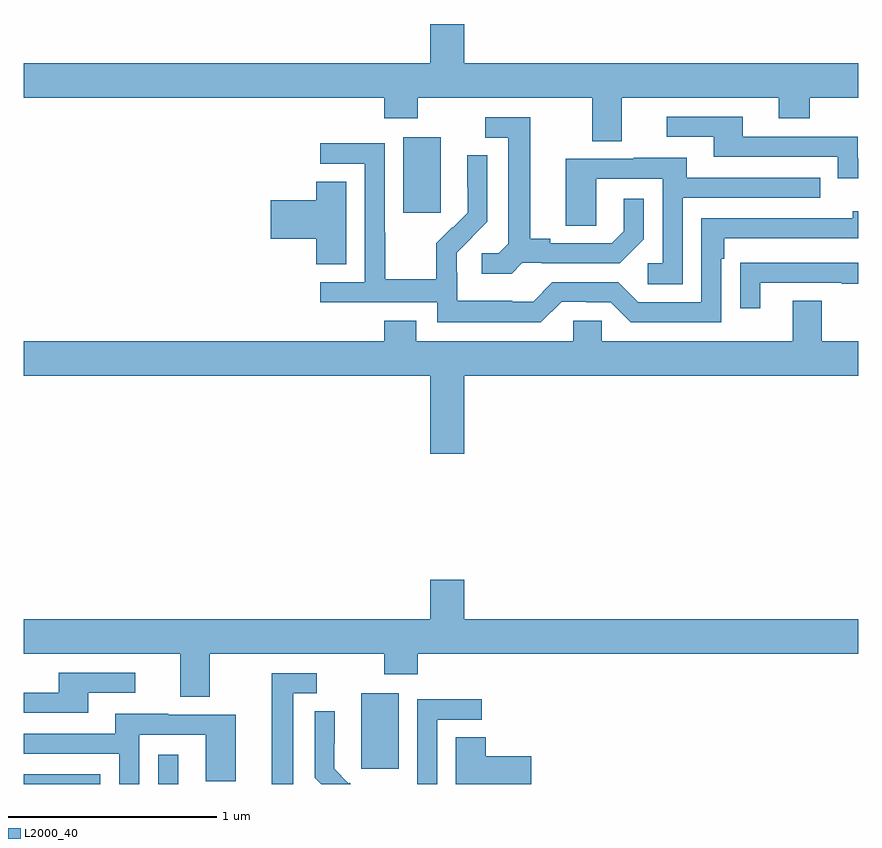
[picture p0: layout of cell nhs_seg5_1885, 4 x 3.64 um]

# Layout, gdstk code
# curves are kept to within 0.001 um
import gdstk
lib = gdstk.Library(unit=1e-6, precision=1e-09)
def R(c, l, rs):  # rectangles x0, y0, x1, y1
    for r in rs: c.add(gdstk.rectangle(r[:2], r[2:], *l))
def P(c, l, *ps):  # polygons
    for p in ps: c.add(gdstk.Polygon(p, *l))
L2000_40 = (2000, 40)

nhs_seg5_1885 = lib.new_cell('nhs_seg5_1885')
R(nhs_seg5_1885, L2000_40, [(223,858.799,223.368,858.846), (223.644,858.799,223.741,858.94), (224.618,858.873,224.797,859.234), (224.819,861.537,224.998,861.898)])
P(nhs_seg5_1885, L2000_40, [(225.865,862.088),(226.619,862.088),(226.619,861.989),(226.767,861.989),(226.767,862.088),(227,862.088),(227,862.252),(225.112,862.252),(225.112,862.441),(224.948,862.441),(224.948,862.252),(223,862.252),(223,862.088),(224.729,862.088),(224.729,861.989),(224.889,861.989),(224.889,862.088),(225.725,862.088),(225.725,861.88),(225.865,861.88)],
  [(227,861.798),(226.998,861.798),(226.998,861.9),(226.447,861.9),(226.447,861.996),(226.083,861.996),(226.083,861.9),(226.307,861.9),(226.307,861.804),(226.902,861.804),(226.902,861.701),(227,861.701)],
  [(225.39,861.297),(225.484,861.297),(225.484,861.294),(225.856,861.294),(225.972,861.41),(225.972,861.604),(225.875,861.604),(225.875,861.447),(225.818,861.39),(225.523,861.39),(225.523,861.413),(225.427,861.413),(225.427,861.993),(225.213,861.993),(225.213,861.897),(225.323,861.897),(225.323,861.389),(225.276,861.342),(225.195,861.342),(225.195,861.245),(225.338,861.245)],
  [(225.579,861.111),(225.695,861.111),(225.695,861.108),(225.813,861.108),(225.909,861.012),(226.344,861.012),(226.344,861.317),(226.357,861.317),(226.357,861.414),(227,861.414),(227,861.544),(226.973,861.544),(226.973,861.51),(226.248,861.51),(226.248,861.108),(225.945,861.108),(225.849,861.204),(225.534,861.204),(225.441,861.111),(225.341,861.111),(225.341,861.115),(225.078,861.115),(225.078,861.249),(225.076,861.249),(225.076,861.346),(225.222,861.494),(225.222,861.812),(225.126,861.812),(225.126,861.658),(225.128,861.658),(225.128,861.536),(225.057,861.465),(225.054,861.468),(224.977,861.391),(224.977,861.217),(224.733,861.217),(224.733,861.44),(224.73,861.44),(224.73,861.87),(224.421,861.87),(224.421,861.771),(224.634,861.771),(224.634,861.204),(224.421,861.204),(224.421,861.108),(224.982,861.108),(224.982,861.011),(225.479,861.011)],
  [(226.158,861.609),(226.817,861.609),(226.817,861.705),(226.177,861.705),(226.177,861.799),(225.923,861.799),(225.923,861.795),(225.599,861.795),(225.599,861.475),(225.744,861.475),(225.744,861.699),(226.062,861.699),(226.062,861.294),(225.99,861.294),(225.99,861.193),(226.158,861.193)],
  [(224.545,861.686),(224.402,861.686),(224.402,861.596),(224.184,861.596),(224.184,861.413),(224.402,861.413),(224.402,861.289),(224.545,861.289)],
  [(226.531,861.201),(226.921,861.201),(226.921,861.196),(227,861.196),(227,861.297),(226.537,861.297),(226.537,861.296),(226.435,861.296),(226.435,861.078),(226.531,861.078)],
  [(225.112,860.756),(227,860.756),(227,860.92),(226.825,860.92),(226.825,861.115),(226.685,861.115),(226.685,860.92),(225.771,860.92),(225.771,861.018),(225.633,861.018),(225.633,860.92),(224.881,860.92),(224.881,861.019),(224.729,861.019),(224.729,860.92),(223,860.92),(223,860.756),(224.948,860.756),(224.948,860.382),(225.112,860.382)],
  [(223.891,859.424),(224.728,859.424),(224.728,859.325),(224.888,859.325),(224.888,859.424),(227,859.424),(227,859.588),(225.112,859.588),(225.112,859.777),(224.948,859.777),(224.948,859.588),(223,859.588),(223,859.424),(223.751,859.424),(223.751,859.216),(223.891,859.216)],
  [(223.309,859.236),(223.534,859.236),(223.534,859.332),(223.169,859.332),(223.169,859.236),(223,859.236),(223,859.14),(223.309,859.14)],
  [(224.293,859.233),(224.404,859.233),(224.404,859.329),(224.189,859.329),(224.189,858.799),(224.293,858.799)],
  [(224.982,859.107),(225.196,859.107),(225.196,859.206),(224.886,859.206),(224.886,858.799),(224.982,858.799)],
  [(224.562,858.804),(224.559,858.801),(224.489,858.872),(224.489,858.994),(224.49,858.994),(224.49,859.148),(224.394,859.148),(224.394,858.83),(224.425,858.799),(224.567,858.799)],
  [(223.554,859.035),(223.872,859.035),(223.872,858.811),(224.017,858.811),(224.017,859.131),(223.693,859.131),(223.693,859.135),(223.439,859.135),(223.439,859.041),(223,859.041),(223,858.945),(223.458,858.945),(223.458,858.799),(223.554,858.799)],
  [(225.433,858.932),(225.215,858.932),(225.215,859.022),(225.071,859.022),(225.071,858.799),(225.433,858.799)])

lib.write_gds('nhs_seg5_1885.gds')
